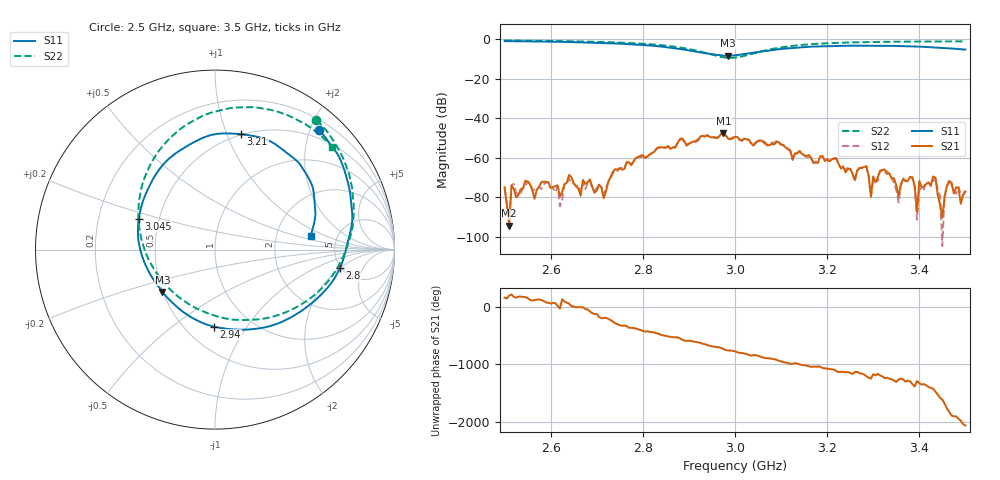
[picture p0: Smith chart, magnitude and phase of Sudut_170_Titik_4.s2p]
# Hz S RI R 50
! CMT, C1220, 16058040, 17.2.0/1
! Date: 15/08/2018 10:33:41
! Data: Format (Calibration Info)
! Freq  S11: Re/Im (F2)  S21: Re/Im (F2)  S12: Re/Im (F2)  S22: Re/Im (F2)
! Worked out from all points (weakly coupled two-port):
!   201 points, 2.5 GHz to 3.5 GHz, reference 50 ohm
!   highest |S21| = -47.49 dB at 2.975 GHz (marker M1); lowest = -94.4 dB at 2.51 GHz (marker M2)
!   lowest |S11| = -8.5 dB at 2.985 GHz (marker M3), VSWR 2.20, Z = 24.9 - j13.6 ohm
!   |S11| at or under -10 dB: nowhere
!   |S22| runs from -9.6 to -0.7 dB; largest |S21 - S12| = 0.00028
!   S11 on the Smith chart (normalised r, x): 2.5 GHz: 0.35, +2.14; 2.8 GHz: 4.89, -2.00; 2.94 GHz: 0.68, -0.72; 3.045 GHz: 0.38, +0.17; 3.21 GHz: 0.50, +1.12; 3.5 GHz: 3.17, +0.69
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2.5e9  0.5782 0.6669  -0.000172 4.64e-05  -0.000158 4.81e-05  0.5655 0.7225
2.51e9  0.5933 0.6505  -1.76e-05 -7.3e-06  -1.93e-05 -3.27e-05  0.5767 0.7117
2.67e9  0.7486 0.3406  0.000274 -4.97e-06  0.000227 -5.12e-05  0.7365 0.4514
2.715e9  0.7633 0.2143  -9.22e-05 1.96e-05  -9.22e-05 4.13e-05  0.7642 0.342
2.8e9  0.6957 -0.1031  0.000656 -0.000947  0.000613 -0.000852  0.7545 0.0738
2.835e9  0.6102 -0.231  -0.000641 -0.0017  -0.000635 -0.00168  0.7028 -0.0629
2.94e9  -0.0056 -0.4293  0.002 0.00307  0.00201 0.00311  0.1772 -0.392
2.975e9  -0.2381 -0.295  0.00416 -0.000754  0.00407 -0.000846  -0.1017 -0.3288
2.985e9  -0.293 -0.2355  0.00239 -0.00184  0.0025 -0.00172  -0.1749 -0.2846
3e9  -0.3606 -0.1384  0.00207 -0.00264  0.00192 -0.00276  -0.2728 -0.1988
3.045e9  -0.4251 0.1728  -0.00117 -0.00203  -0.00124 -0.00214  -0.4242 0.1399
3.17e9  -0.00538 0.6423  0.000573 0.000464  0.000574 0.000504  -0.0782 0.7407
3.21e9  0.1456 0.6425  0.000898 -0.0001  0.000815 -0.000156  0.0669 0.7844
3.26e9  0.3015 0.6065  0.000159 -0.000229  0.000103 -0.000222  0.2204 0.7923
3.285e9  0.362 0.5681  -0.000365 -0.000483  -0.000387 -0.000485  0.2875 0.7822
3.295e9  0.386 0.5503  -0.000101 -2.12e-05  -0.0001 -1.97e-05  0.3126 0.7779
3.335e9  0.4679 0.4818  -0.000395 -5.93e-05  -0.000385 -1.07e-05  0.4032 0.7491
3.355e9  0.4977 0.4379  -0.000105 1.25e-05  -7.08e-05 1.62e-05  0.4414 0.7317
3.38e9  0.531 0.3804  -0.000258 0.00019  -0.000255 0.00021  0.4885 0.7075
3.395e9  0.5438 0.3487  -3.6e-05 2.19e-05  -2.08e-05 1.7e-05  0.512 0.6934
3.43e9  0.555 0.2544  0.000325 7.72e-05  0.000248 5.73e-05  0.5653 0.6549
3.5e9  0.5328 0.0779  -4.02e-06 0.000138  5.58e-05 0.000153  0.652 0.5736
